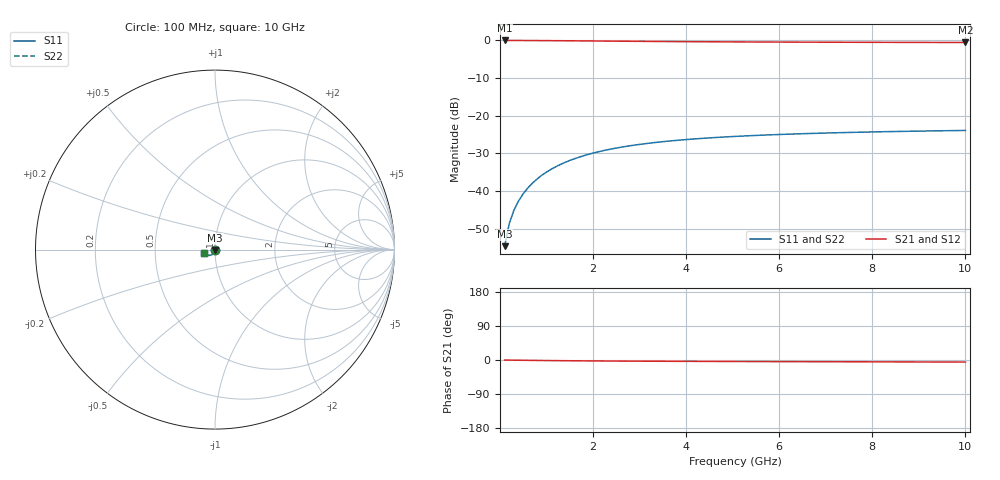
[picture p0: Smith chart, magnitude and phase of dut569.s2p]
! Touchstone file exported from HFSS 2024.1.0
!  File:  C:/UserFiles/LocalFiles/RDL_TSV_Batchsim/temp_TSV1_569_1779707997.aedt
!  Generated:  07:25:19 PM May 25, 2026
!  Design:  TSV1
!  Project:  temp_TSV1_569_1779707997
!  Setup:  Setup1
!  Solution:  Sweep
! Variables:
!  dtsv = 14.09um
!  hbump = 3um
!  htsv = 82.66um
!  lrdl = 252.1521522um
!  p = 40
!  p1 = 49.43um
!  t = 500um
!  trdl = 3um
!  wrdl = 24.89489489um
# GHz S MA R 50.000000
! Terminal data exported
! Port[1] = TSV22_T1
! Port[2] = TSV22_T2
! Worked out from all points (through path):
!   100 points, 100 MHz to 10 GHz, reference 50 ohm
!   highest |S21| = 0.00 dB at 100 MHz (marker M1); lowest = -0.5 dB at 10 GHz (marker M2)
!   lowest |S11| = -54.7 dB at 100 MHz (marker M3), VSWR 1.00, Z = 50 - j0.185 ohm
!   |S11| at or under -10 dB: start of sweep to end of sweep
!   |S22| runs from -54.7 to -23.9 dB; largest |S21 - S12| = 4.7e-15
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0.1  0.001847 -89.0  0.9999 -0.2  0.9999 -0.2  0.001847 -89.0
! Gamma 0 0 0 0
! Port Impedance 50 0 50 0
0.2  0.003694 -91.9  0.9997 -0.3  0.9997 -0.3  0.003694 -91.9
0.3  0.005538 -94.0  0.9994 -0.4  0.9994 -0.4  0.005538 -94.0
0.4  0.007371 -95.9  0.999 -0.6  0.999 -0.6  0.007371 -95.9
0.5  0.009187 -97.7  0.9985 -0.7  0.9985 -0.7  0.009187 -97.7
0.6  0.01098 -99.5  0.9979 -0.9  0.9979 -0.9  0.01098 -99.5
0.7  0.01274 -101.2  0.9972 -1.0  0.9972 -1.0  0.01274 -101.2
0.8  0.01447 -102.9  0.9965 -1.1  0.9965 -1.1  0.01447 -102.9
0.9  0.01616 -104.6  0.9957 -1.3  0.9957 -1.3  0.01616 -104.6
1.1  0.01943 -107.8  0.9938 -1.5  0.9938 -1.5  0.01943 -107.8
1.4  0.02399 -112.3  0.9908 -1.9  0.9908 -1.9  0.02399 -112.3
1.6  0.0268 -115.1  0.9885 -2.1  0.9885 -2.1  0.0268 -115.1
1.8  0.02941 -117.8  0.9863 -2.3  0.9863 -2.3  0.02941 -117.8
2.1  0.033 -121.5  0.9828 -2.5  0.9828 -2.5  0.033 -121.5
2.5  0.03718 -126.0  0.9783 -2.8  0.9783 -2.8  0.03718 -126.0
2.9  0.04076 -130.0  0.9741 -3.0  0.9741 -3.0  0.04076 -130.0
3.4  0.04452 -134.3  0.9693 -3.3  0.9693 -3.3  0.04452 -134.3
4.2  0.04926 -140.0  0.9627 -3.6  0.9627 -3.6  0.04926 -140.0
5.1  0.05325 -145.2  0.9567 -4.0  0.9567 -4.0  0.05325 -145.2
6.7  0.05816 -152.2  0.9489 -4.4  0.9489 -4.4  0.05816 -152.2
8.4  0.06153 -157.7  0.9433 -5.0  0.9433 -5.0  0.06153 -157.7
10  0.06369 -161.8  0.9396 -5.4  0.9396 -5.4  0.0637 -161.8
